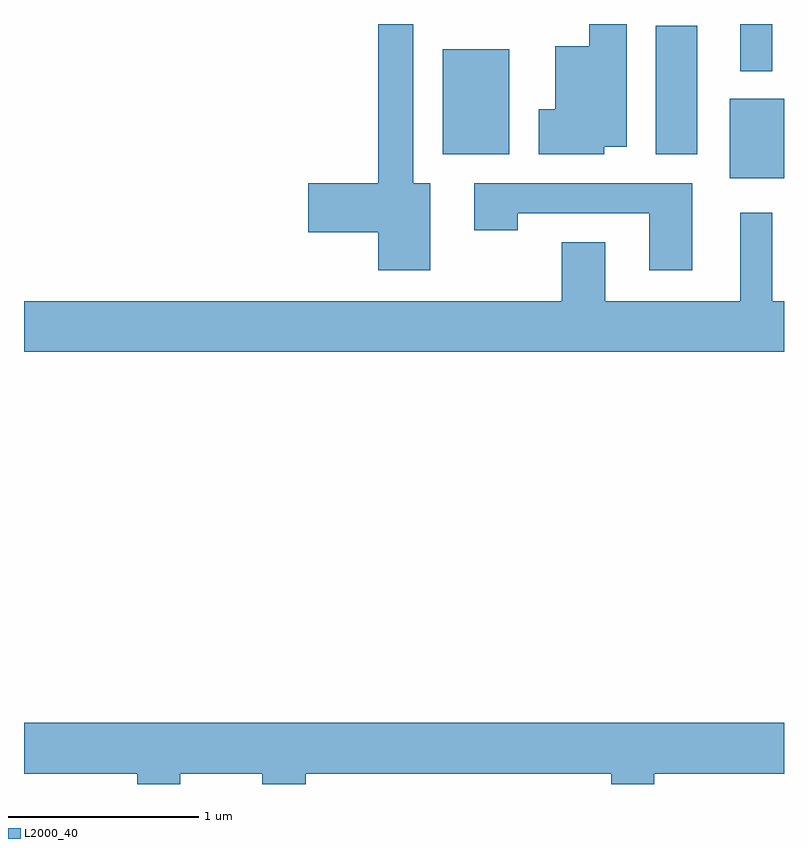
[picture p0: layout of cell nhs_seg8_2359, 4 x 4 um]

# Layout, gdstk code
import gdstk
lib = gdstk.Library(unit=1e-6, precision=1e-09)
def R(c, l, rs):  # rectangles x0, y0, x1, y1
    for r in rs: c.add(gdstk.rectangle(r[:2], r[2:], *l))
def P(c, l, *ps):  # polygons
    for p in ps: c.add(gdstk.Polygon(p, *l))
L2000_40 = (2000, 40)

nhs_seg8_2359 = lib.new_cell('nhs_seg8_2359')
R(nhs_seg8_2359, L2000_40, [(259.326,1859.531,259.611,1859.949), (257.816,1859.656,258.164,1860.209), (258.936,1859.656,259.154,1860.334), (259.381,1860.093,259.549,1860.342)])
P(nhs_seg8_2359, L2000_40, [(258.664,1859.696),(258.784,1859.696),(258.784,1860.342),(258.586,1860.342),(258.586,1860.224),(258.406,1860.224),(258.406,1859.894),(258.321,1859.894),(258.321,1859.656),(258.664,1859.656)],
  [(257.749,1859.504),(257.659,1859.504),(257.659,1860.342),(257.476,1860.342),(257.476,1859.504),(257.106,1859.504),(257.106,1859.246),(257.476,1859.246),(257.476,1859.046),(257.749,1859.046)],
  [(259.129,1859.504),(257.981,1859.504),(257.981,1859.256),(258.209,1859.256),(258.209,1859.346),(258.901,1859.346),(258.901,1859.046),(259.129,1859.046)],
  [(259.611,1858.884),(259.549,1858.884),(259.549,1859.348),(259.381,1859.348),(259.381,1858.884),(258.669,1858.884),(258.669,1859.194),(258.441,1859.194),(258.441,1858.884),(255.611,1858.884),(255.611,1858.616),(259.611,1858.616)],
  [(255.611,1856.396),(256.206,1856.396),(256.206,1856.342),(256.434,1856.342),(256.434,1856.396),(256.866,1856.396),(256.866,1856.342),(257.094,1856.342),(257.094,1856.396),(258.701,1856.396),(258.701,1856.342),(258.929,1856.342),(258.929,1856.396),(259.611,1856.396),(259.611,1856.664),(255.611,1856.664)])

lib.write_gds('nhs_seg8_2359.gds')
